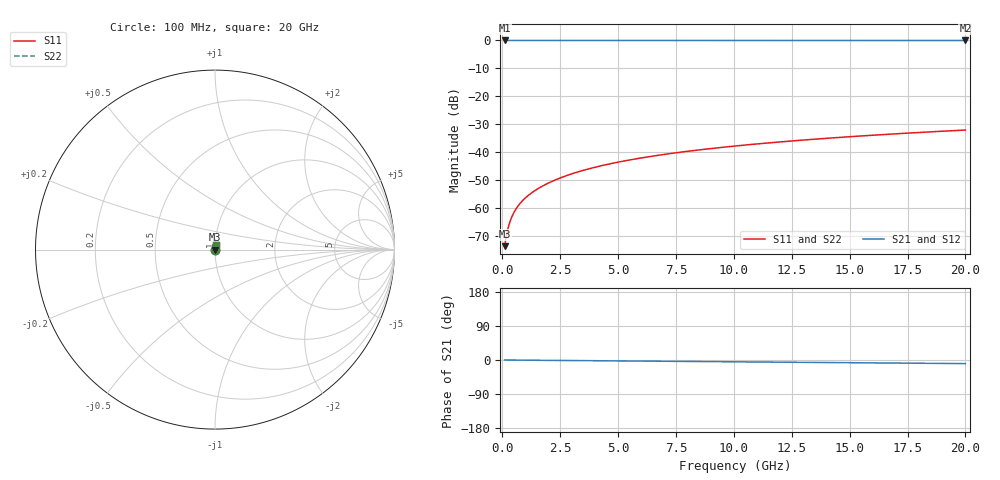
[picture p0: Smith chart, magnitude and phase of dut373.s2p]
! Touchstone file exported from HFSS 2026.1.0
!  File:  C:/ffzhzh/LocalFiles/Ansys_Project_Files/temp_train_TSV_373_1783019587_53980.aedt
!  Generated:  03:14:47 AM Jul  3, 2026
!  Design:  TSV
!  Project:  temp_train_TSV_373_1783019587_53980
! Variables:
!  h_bsmrdl = 2um
!  h_ox = 20um
!  h_rdl = 5um
!  h_sub = 93.37um
!  h_tmrdl = 5um
!  h_tsv = 93.37um
!  h_via = 3um
!  l_bsmrdl = 300um
!  l_sub = 422.08um
!  l_tmrdl = 200um
!  m_sub = 200um
!  pitch = 53.09um
!  r_tsv = 11.04um
!  s_tmrdl = 10um
!  w_bsmrdl = 18um
!  w_sub = 500um
!  w_tmrdl = 12um
!  x_tsv_center1 = 206um
!  x_tsv_center2 = 524um
!  x_tsv_center3 = 736um
!  x_tsv_center4 = 1054um
!  x_tsv_center5 = 1266um
!  x_tsv_center6 = 1584um
# GHz S MA R 50.000000
! Terminal data exported
! Port[1] = TSV1_1_T1
! Port[2] = TSV1_1_T2
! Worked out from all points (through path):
!   200 points, 100 MHz to 20 GHz, reference 50 ohm
!   highest |S21| = 0.00 dB at 100 MHz (marker M1); lowest = 0.0 dB at 20 GHz (marker M2)
!   group delay of S21, straight-line fit = 1.32 ps
!   lowest |S11| = -73.5 dB at 100 MHz (marker M3), VSWR 1.00, Z = 50 + j0.0172 ohm
!   |S11| at or under -10 dB: start of sweep to end of sweep
!   |S22| runs from -73.5 to -32.0 dB; largest |S21 - S12| = 2.1e-15
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0.1  0.0002102 54.8  0.9999 -0.1  0.9999 -0.1  0.0002102 54.8
! Gamma 0 0 0 0
! Port Impedance 50 0 50 0
0.2  0.0003662 68.5  0.9999 -0.1  0.9999 -0.1  0.0003662 68.5
0.3  0.0005273 73.0  0.9998 -0.1  0.9998 -0.1  0.0005273 73.0
0.4  0.0006851 74.9  0.9998 -0.2  0.9998 -0.2  0.0006851 74.9
0.5  0.0008376 75.8  0.9998 -0.2  0.9998 -0.2  0.0008376 75.8
0.6  0.0009849 76.4  0.9998 -0.3  0.9998 -0.3  0.0009849 76.4
0.7  0.001127 76.8  0.9997 -0.3  0.9997 -0.3  0.001127 76.8
0.9  0.001402 77.5  0.9997 -0.4  0.9997 -0.4  0.001402 77.5
1.1  0.001668 78.1  0.9997 -0.5  0.9997 -0.5  0.001668 78.1
1.3  0.00193 78.7  0.9996 -0.6  0.9996 -0.6  0.00193 78.7
1.6  0.002319 79.4  0.9996 -0.8  0.9996 -0.8  0.002319 79.4
1.9  0.002707 80.1  0.9996 -0.9  0.9996 -0.9  0.002707 80.1
2.6  0.003611 81.1  0.9995 -1.3  0.9995 -1.3  0.003611 81.1
3.5  0.004769 81.7  0.9994 -1.7  0.9994 -1.7  0.004769 81.7
4.2  0.005664 81.9  0.9994 -2.0  0.9994 -2.0  0.005664 81.9
5  0.00668 81.9  0.9993 -2.4  0.9993 -2.4  0.00668 81.9
6.8  0.008941 81.8  0.9992 -3.3  0.9992 -3.3  0.008941 81.8
8.3  0.01081 81.5  0.9991 -4.0  0.9991 -4.0  0.01081 81.5
10.1  0.01303 81.0  0.999 -4.8  0.999 -4.8  0.01303 81.0
13.4  0.01708 80.0  0.9988 -6.4  0.9988 -6.4  0.01708 80.0
16.7  0.02108 78.8  0.9986 -7.9  0.9986 -7.9  0.02108 78.8
20  0.02503 77.4  0.9984 -9.5  0.9984 -9.5  0.02503 77.5
